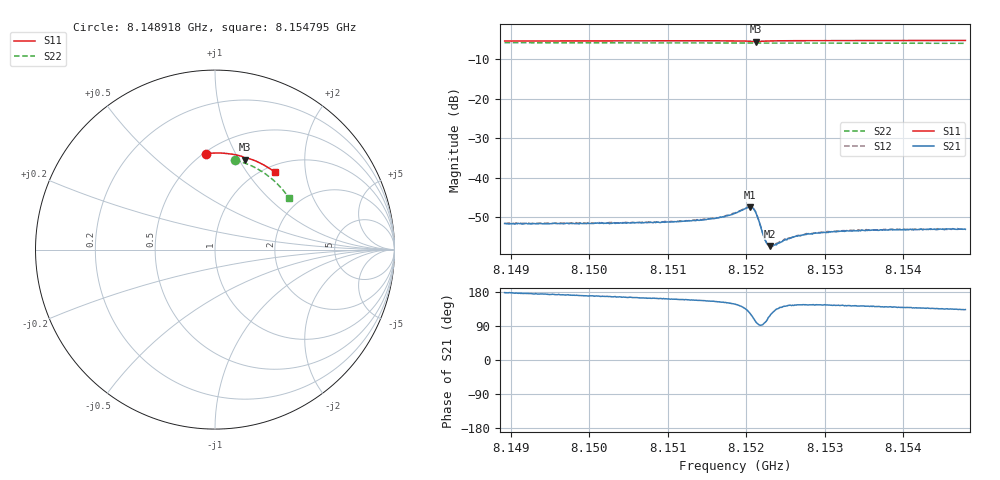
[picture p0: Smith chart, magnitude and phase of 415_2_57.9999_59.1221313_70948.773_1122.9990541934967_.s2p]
#  HZ  S  RI  R  50.00
! Rohde & Schwarz Vector Network Analyzer
! Rohde-Schwarz,ZNB20-2Port,1311601062101988,3.16
! Created: UTC 3/21/2024, 1:08:54 AM
! freq[Hz]  re:S11  im:S11  re:S21  im:S21  re:S12  im:S12  re:S22  im:S22
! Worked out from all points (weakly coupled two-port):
!   401 points, 8.148918 GHz to 8.154795 GHz, reference 50 ohm
!   highest |S21| = -47.44 dB at 8.152048 GHz (marker M1); lowest = -57.2 dB at 8.152298 GHz (marker M2)
!   lowest |S11| = -5.5 dB at 8.152121 GHz (marker M3), VSWR 3.24, Z = 38 + j52.9 ohm
!   |S11| at or under -10 dB: nowhere
!   |S22| runs from -6.0 to -5.8 dB; largest |S21 - S12| = 0.00012
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8.1489185e9  -0.0496 0.5345  -0.00264 0.000103  -0.00266 0.000164  0.1119 0.4987
8.1499028e9  0.0189 0.538  -0.00259 0.000452  -0.00262 0.000511  0.1728 0.4798
8.1508872e9  0.0874 0.5329  -0.00259 0.000846  -0.00263 0.000919  0.2301 0.4533
8.1512838e9  0.115 0.5282  -0.00264 0.00106  -0.00265 0.00107  0.2522 0.4407
8.151563e9  0.1346 0.5237  -0.00275 0.00127  -0.00276 0.00135  0.2673 0.4313
8.1516952e9  0.1442 0.521  -0.00285 0.00147  -0.00287 0.00149  0.2743 0.4266
8.1518568e9  0.1563 0.5165  -0.003 0.00191  -0.00296 0.00194  0.2827 0.4206
8.1520037e9  0.1663 0.5085  -0.00281 0.00305  -0.00281 0.00312  0.2903 0.415
8.1520478e9  0.1675 0.5048  -0.00232 0.00355  -0.00233 0.00363  0.2925 0.4131
8.1520919e9  0.1664 0.502  -0.00141 0.00381  -0.00139 0.00387  0.2943 0.4115
8.1521213e9  0.1649 0.5018  -0.00069 0.00357  -0.000667 0.00364  0.2958 0.4105
8.1521506e9  0.164 0.5032  -0.000264 0.00305  -0.00019 0.00306  0.2972 0.4094
8.1522388e9  0.1686 0.5081  -0.000253 0.00162  -0.000214 0.00163  0.3017 0.4062
8.1522682e9  0.1711 0.5088  -0.000408 0.00139  -0.000409 0.00139  0.3032 0.4053
8.1522976e9  0.1736 0.5092  -0.000593 0.00124  -0.000605 0.00128  0.3046 0.4041
8.1523416e9  0.1775 0.5092  -0.000819 0.00112  -0.000797 0.00112  0.307 0.4024
8.1525032e9  0.1902 0.5068  -0.00132 0.00103  -0.00129 0.00102  0.315 0.396
8.1526355e9  0.1997 0.5038  -0.00149 0.00105  -0.00148 0.00109  0.3214 0.3905
8.1528411e9  0.2139 0.4988  -0.0016 0.0011  -0.0016 0.00112  0.3311 0.3817
8.1532231e9  0.2387 0.4883  -0.00171 0.00122  -0.00172 0.00127  0.3485 0.365
8.1538255e9  0.276 0.4693  -0.00169 0.00141  -0.00169 0.00143  0.3743 0.3371
8.1547951e9  0.3323 0.4329  -0.00152 0.00163  -0.00153 0.00164  0.4108 0.2887
